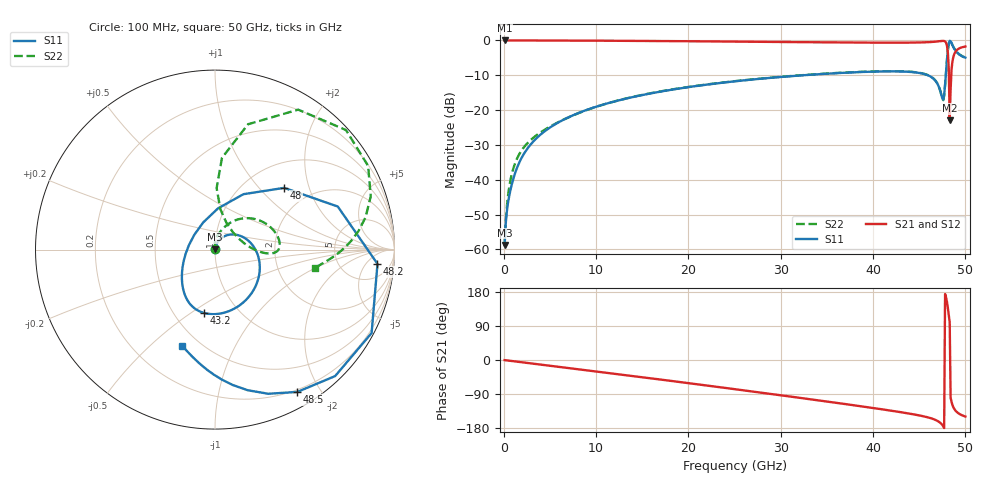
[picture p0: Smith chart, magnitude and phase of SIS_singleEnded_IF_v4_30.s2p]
! Touchstone file from project
# GHZ S MA R 30.000000
! Modal data exported
! Port[1] = IF_output:1
! Port[2] = RF_input:1
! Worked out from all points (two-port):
!   500 points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, 100 MHz to 50 GHz, reference 30 ohm
!   highest |S21| = 0.00 dB at 100 MHz (marker M1); lowest = -23.0 dB at 48.3 GHz (marker M2)
!   |S21| within 3 dB of the highest: start of sweep to 48.08 GHz; 48.99 GHz to end of sweep
!   lowest |S11| = -58.8 dB at 100 MHz (marker M3), VSWR 1.00, Z = 30 + j0.0654 ohm
!   |S11| at or under -10 dB: start of sweep to 32.39 GHz; 45.94 GHz to 47.88 GHz (1.939 GHz wide, 4.13 % of centre)
!   |S22| runs from -59.1 to -0.1 dB; largest |S21 - S12| = 0
!   S11 on the Smith chart (normalised r, x): 100 MHz: 1.00, +0.00; 43.2 GHz: 0.69, -0.56; 48 GHz: 1.48, +1.39; 48.2 GHz: 11, -10; 48.5 GHz: 0.17, -1.72; 50 GHz: 0.40, -0.63
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0.1  0.001153 70.9  0.9999 -0.3  0.9999 -0.3  0.001112 100.6
! Gamma 6.231010E-003 5.681217E+000 0.000000E+000 0.000000E+000
! Port Impedance 3.000000E+001 0.000000E+000 3.000000E+001 0.000000E+000
0.5  0.004962 85.7  0.9996 -1.5  0.9996 -1.5  0.006347 84.2
0.8  0.007794 82.7  0.9995 -2.4  0.9995 -2.4  0.01089 85.4
1.9  0.02014 76.4  0.9993 -5.7  0.9993 -5.7  0.0259 91.1
4.4  0.04918 68.7  0.9981 -13.2  0.9981 -13.2  0.05186 88.0
8.5  0.09526 53.4  0.9944 -25.6  0.9944 -25.6  0.09476 75.7
16.8  0.1825 19.2  0.9813 -51.0  0.9813 -51.0  0.1837 58.2
25.1  0.2596 -17.0  0.963 -77.2  0.963 -77.2  0.2609 42.0
33.4  0.323 -54.0  0.9429 -104.2  0.9429 -104.2  0.3248 24.9
41.7  0.36 -92.4  0.9286 -132.8  0.9286 -132.8  0.3622 6.1
43.2  0.358 -100.2  0.9293 -138.5  0.9293 -138.5  0.3603 2.5
46.2  0.3043 -123.3  0.9482 -153.2  0.9482 -153.2  0.3062 -4.1
47.3  0.1847 -160.5  0.9785 -166.2  0.9785 -166.2  0.1851 6.3
47.6  0.1417 144.7  0.9855 -175.0  0.9855 -175.0  0.1388 43.5
47.8  0.231 85.7  0.968 174.3  0.968 174.3  0.2265 82.4
48  0.5163 41.8  0.8492 154.0  0.8492 154.0  0.5126 85.7
48.2  0.9087 -5.0  0.3961 117.7  0.3961 117.7  0.907 59.3
48.3  0.9886 -28.0  0.07107 99.8  0.07107 99.8  0.988 42.4
48.5  0.9161 -60.0  0.3821 -110.7  0.3821 -110.7  0.917 18.9
48.7  0.804 -77.0  0.5839 -124.8  0.5839 -124.8  0.8055 7.3
49  0.6963 -90.6  0.7099 -135.6  0.7099 -135.6  0.6982 -0.9
50  0.5659 -108.9  0.8183 -149.3  0.8183 -149.3  0.5682 -10.1
